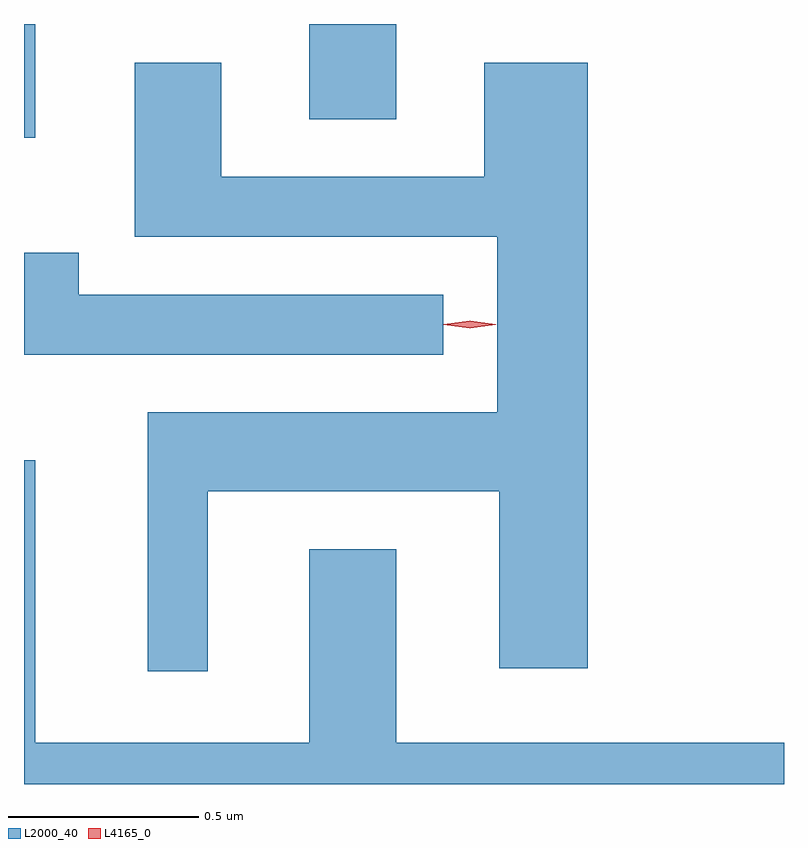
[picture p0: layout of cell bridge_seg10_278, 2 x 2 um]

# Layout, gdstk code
import gdstk
lib = gdstk.Library(unit=1e-6, precision=1e-09)
def R(c, l, rs):  # rectangles x0, y0, x1, y1
    for r in rs: c.add(gdstk.rectangle(r[:2], r[2:], *l))
def P(c, l, *ps):  # polygons
    for p in ps: c.add(gdstk.Polygon(p, *l))
L2000_40 = (2000, 40)
L4165_0 = (4165, 0)

bridge_seg10_278 = lib.new_cell('bridge_seg10_278')
R(bridge_seg10_278, L2000_40, [(1806.49,2093.577,1806.519,2093.876), (1807.241,2093.626,1807.469,2093.876)])
P(bridge_seg10_278, L2000_40, [(1806.974,2092.646),(1807.741,2092.646),(1807.741,2092.181),(1807.974,2092.181),(1807.974,2093.774),(1807.701,2093.774),(1807.701,2093.474),(1807.009,2093.474),(1807.009,2093.774),(1806.781,2093.774),(1806.781,2093.316),(1807.736,2093.316),(1807.736,2092.854),(1806.816,2092.854),(1806.816,2092.173),(1806.974,2092.173)],
  [(1807.593,2093.164),(1806.634,2093.164),(1806.634,2093.274),(1806.49,2093.274),(1806.49,2093.006),(1807.593,2093.006)],
  [(1808.49,2091.984),(1807.469,2091.984),(1807.469,2092.494),(1807.241,2092.494),(1807.241,2091.984),(1806.519,2091.984),(1806.519,2092.728),(1806.49,2092.728),(1806.49,2091.876),(1808.49,2091.876)])
P(bridge_seg10_278, L4165_0, [(1807.664,2093.075),(1807.597,2093.085),(1807.597,2093.085),(1807.597,2093.086),(1807.664,2093.095),(1807.729,2093.086),(1807.73,2093.085),(1807.729,2093.085)],
  [(1807.663,2093.075),(1807.594,2093.084),(1807.593,2093.085),(1807.594,2093.086),(1807.663,2093.095),(1807.732,2093.086),(1807.732,2093.085),(1807.732,2093.084)])

lib.write_gds('bridge_seg10_278.gds')
